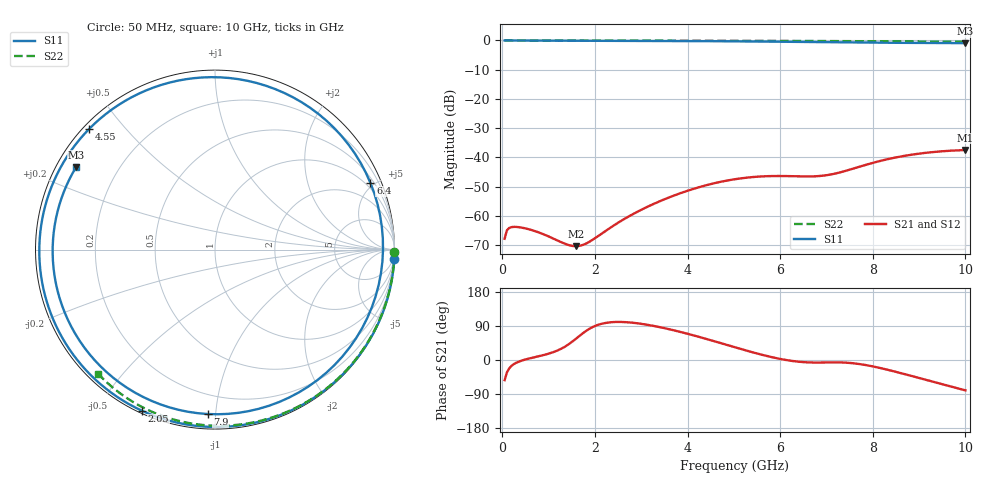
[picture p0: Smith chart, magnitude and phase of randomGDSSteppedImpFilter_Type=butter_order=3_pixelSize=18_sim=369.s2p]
! freq	dB(S11)	phase(S11)	dB(S12)	phase(S12)
!  dB(S21)	phase(S21)	dB(S22)	phase(S22)
!S-par simulation data
#  GHz  S  DB  R 50
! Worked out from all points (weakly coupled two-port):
!   200 points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, 50 MHz to 10 GHz, reference 50 ohm
!   highest |S21| = -37.52 dB at 10 GHz (marker M1); lowest = -70.4 dB at 1.6 GHz (marker M2)
!   lowest |S11| = -0.9 dB at 10 GHz (marker M3), VSWR 19.01, Z = 2.83 + j13.7 ohm
!   |S11| at or under -10 dB: nowhere
!   |S22| runs from -0.4 to 0.0 dB; largest |S21 - S12| = 0
!   S11 on the Smith chart (normalised r, x): 50 MHz: 0, -37; 2.05 GHz: 0.01, -0.65; 4.55 GHz: 0.02, +0.40; 6.4 GHz: 0.71, +4.75; 7.9 GHz: 0.08, -0.95; 10 GHz: 0.06, +0.27
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0.05  -0.00 -3.1  -67.89 -53.2  -67.89 -53.2  -0.00 -0.8
0.1  -0.00 -6.2  -64.98 -32.8  -64.98 -32.8  -0.00 -1.5
0.2  -0.00 -12.5  -63.90 -15.4  -63.90 -15.4  -0.00 -3.1
0.85  -0.05 -51.7  -66.09 11.8  -66.09 11.8  -0.02 -13.1
1.6  -0.10 -92.4  -70.42 57.1  -70.42 57.1  -0.03 -24.4
1.75  -0.11 -99.9  -69.93 71.6  -69.93 71.6  -0.03 -26.6
2.05  -0.12 -114.3  -67.19 92.0  -67.19 92.0  -0.04 -31.1
2.75  -0.15 -145.7  -60.07 99.1  -60.07 99.1  -0.05 -41.3
3.4  -0.18 -173.3  -55.04 86.7  -55.04 86.7  -0.07 -50.7
4  -0.21 161.1  -51.45 69.2  -51.45 69.2  -0.08 -59.1
4.55  -0.25 136.1  -48.98 50.5  -48.98 50.5  -0.10 -66.6
5.05  -0.30 110.9  -47.43 32.6  -47.43 32.6  -0.11 -73.3
5.75  -0.40 69.5  -46.45 9.5  -46.45 9.5  -0.14 -82.4
6.4  -0.52 23.3  -46.53 -4.6  -46.53 -4.6  -0.17 -90.7
6.7  -0.57 -0.2  -46.54 -6.7  -46.54 -6.7  -0.18 -94.4
7  -0.63 -24.1  -46.13 -6.4  -46.13 -6.4  -0.20 -98.1
7.35  -0.69 -51.9  -44.93 -6.6  -44.93 -6.6  -0.22 -102.3
7.9  -0.75 -92.6  -42.35 -14.5  -42.35 -14.5  -0.26 -108.9
8.35  -0.79 -122.3  -40.53 -26.6  -40.53 -26.6  -0.29 -114.2
8.75  -0.83 -146.2  -39.33 -39.3  -39.33 -39.3  -0.32 -118.9
9.15  -0.85 -168.2  -38.46 -52.4  -38.46 -52.4  -0.36 -123.5
10  -0.91 149.4  -37.52 -80.2  -37.52 -80.2  -0.45 -133.3
